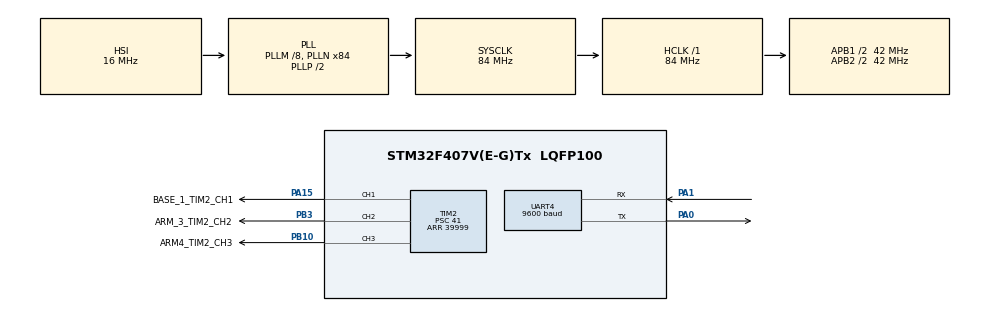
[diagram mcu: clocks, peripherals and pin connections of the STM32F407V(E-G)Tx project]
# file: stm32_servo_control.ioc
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Mcu.Family=STM32F4
Mcu.Name=STM32F407V(E-G)Tx
Mcu.Package=LQFP100
NVIC.PriorityGroup=NVIC_PRIORITYGROUP_4
NVIC.UART4_IRQn=true\:0\:0\:false\:false\:true\:true\:true\:true
PA0-WKUP.Mode=Asynchronous
PA0-WKUP.Signal=UART4_TX
PA1.Mode=Asynchronous
PA1.Signal=UART4_RX
PA13.Mode=Serial_Wire
PA13.Signal=SYS_JTMS-SWDIO
PA14.Mode=Serial_Wire
PA14.Signal=SYS_JTCK-SWCLK
PA15.GPIO_Label=BASE_1_TIM2_CH1
PA15.Signal=S_TIM2_CH1_ETR
PB10.GPIO_Label=ARM4_TIM2_CH3
PB10.Signal=S_TIM2_CH3
PB3.GPIO_Label=ARM_3_TIM2_CH2
PB3.Signal=S_TIM2_CH2
PH0-OSC_IN.Mode=HSE-External-Oscillator
PH0-OSC_IN.Signal=RCC_OSC_IN
PH1-OSC_OUT.Mode=HSE-External-Oscillator
PH1-OSC_OUT.Signal=RCC_OSC_OUT
ProjectManager.HeapSize=0x200
ProjectManager.StackSize=0x400
ProjectManager.TargetToolchain=STM32CubeIDE
RCC.48MHZClocksFreq_Value=24000000
RCC.AHBFreq_Value=84000000
RCC.APB1CLKDivider=RCC_HCLK_DIV2
RCC.APB1Freq_Value=42000000
RCC.APB1TimFreq_Value=84000000
RCC.APB2CLKDivider=RCC_HCLK_DIV2
RCC.APB2Freq_Value=42000000
RCC.APB2TimFreq_Value=84000000
RCC.CortexFreq_Value=84000000
RCC.HCLKFreq_Value=84000000
RCC.HSE_VALUE=8000000
RCC.HSI_VALUE=16000000
RCC.LSE_VALUE=32768
RCC.PLLM=8
RCC.PLLN=84
RCC.PLLQ=7
RCC.SYSCLKFreq_VALUE=84000000
RCC.SYSCLKSource=RCC_SYSCLKSOURCE_PLLCLK
RCC.VCOOutputFreq_Value=168000000
SH.S_TIM2_CH1_ETR.0=TIM2_CH1,PWM Generation1 CH1
SH.S_TIM2_CH2.0=TIM2_CH2,PWM Generation2 CH2
SH.S_TIM2_CH3.0=TIM2_CH3,PWM Generation3 CH3
TIM2.Channel-PWM\ Generation1\ CH1=TIM_CHANNEL_1
TIM2.Channel-PWM\ Generation2\ CH2=TIM_CHANNEL_2
TIM2.Channel-PWM\ Generation3\ CH3=TIM_CHANNEL_3
TIM2.Period=39999
TIM2.Prescaler=41
UART4.BaudRate=9600
UART4.VirtualMode=Asynchronous
VP_TIM2_VS_ClockSourceINT.Mode=Internal
board=STM32F407G-DISC1

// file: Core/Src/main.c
/* USER CODE BEGIN Header */
/**
  ******************************************************************************
  * @file           : main.c
  * @brief          : Main program body
  ******************************************************************************
  * @attention
  *
  * Copyright (c) 2023 STMicroelectronics.
  * All rights reserved.
  *
  * This software is licensed under terms that can be found in the LICENSE file
  * in the root directory of this software component.
  * If no LICENSE file comes with this software, it is provided AS-IS.
  *
  ******************************************************************************
  */
/* USER CODE END Header */
#include "main.h"
/* USER CODE BEGIN Includes */
#include <stdio.h>
#include <string.h>
#include <stdbool.h>
#include <stdlib.h>
#include "stm32f4xx_hal.h"
/* USER CODE END Includes */

/* USER CODE BEGIN PTD */
#define RX_BUFFER_SIZE 32
#define TX_BUFFER_SIZE 32
#define NUM_JOINTS 4
#define JOINT_NAME_SIZE 5
/* USER CODE END PTD */

TIM_HandleTypeDef htim2;
UART_HandleTypeDef huart4;

/* USER CODE BEGIN PV */
typedef enum {
	BASE1, // PIN: PA15
	ARM2,  // PIN: PB3
	ARM4   // PIN: PB10
} CCR_Register;

typedef struct {
	CCR_Register ccr_register;
	uint32_t targetCCR;
	uint32_t currentCCR;
} JointMove;
/* USER CODE END PV */

void SystemClock_Config(void);
static void MX_GPIO_Init(void);
static void MX_TIM2_Init(void);
static void MX_UART4_Init(void);
/* USER CODE BEGIN PFP */
static void moveRobotArmJoint(uint32_t angle[], CCR_Register ccr_register[], int num_joints) {
    JointMove joint_moves[num_joints];
    bool joints_moving[num_joints];

    for (int i = 0; i < num_joints; i++) {
        joint_moves[i].ccr_register = ccr_register[i];
        joint_moves[i].targetCCR = (uint32_t)((angle[i] / 180.0) * 2000 + 2000);
        joints_moving[i] = true;

        switch (ccr_register[i]) {
            case BASE1:
                joint_moves[i].currentCCR = htim2.Instance->CCR1;
                break;
            case ARM2:
                joint_moves[i].currentCCR = htim2.Instance->CCR2;
                break;
            case ARM4:
                joint_moves[i].currentCCR = htim2.Instance->CCR3;
                break;
            default:
                // handle error case
                return;
        }
    }

    bool all_joints_reached_target = false;

    while (!all_joints_reached_target) {
        all_joints_reached_target = true;
        for (int i = 0; i < num_joints; i++) {
            if (joints_moving[i]) {
                if (joint_moves[i].currentCCR < joint_moves[i].targetCCR) {
                    joint_moves[i].currentCCR++;
                } else if (joint_moves[i].currentCCR > joint_moves[i].targetCCR) {
                    joint_moves[i].currentCCR--;
                } else {
                    joints_moving[i] = false;
                    continue;
                }

                switch (joint_moves[i].ccr_register) {
                    case BASE1:
                        htim2.Instance->CCR1 = joint_moves[i].currentCCR;
                        break;
                    case ARM2:
                        htim2.Instance->CCR2 = joint_moves[i].currentCCR;
                        break;
                    case ARM4:
                        htim2.Instance->CCR3 = joint_moves[i].currentCCR;
                        break;
                    default:
                        // handle error case
                        return;
                }

                all_joints_reached_target = false;
            }
        }
        HAL_Delay(0.3); // Adjust the delay value to control the speed
    }
}

static void send_echo(const char* message) {
    HAL_UART_Transmit(&huart4, (uint8_t*)message, strlen(message), HAL_MAX_DELAY);
}
/* USER CODE END PFP */

int main(void)
{
  /* USER CODE BEGIN 1 */
	char rx_buffer[RX_BUFFER_SIZE];
	char tx_data[TX_BUFFER_SIZE];
	uint8_t rx_data;
	int rx_index = 0;
	bool start_detected = false;

  /* USER CODE END 1 */

  /* MCU Configuration--------------------------------------------------------*/

  /* Reset of all peripherals, Initializes the Flash interface and the Systick. */
  HAL_Init();

  /* Configure the system clock */
  SystemClock_Config();

  /* Initialize all configured peripherals */
  MX_GPIO_Init();
  MX_TIM2_Init();
  MX_UART4_Init();
  /* USER CODE BEGIN 2 */
    // BASE 1 - PIN: PA15
	HAL_TIM_PWM_Start(&htim2, TIM_CHANNEL_1);
  	// ARM 2 - PIN: PB3
	HAL_TIM_PWM_Start(&htim2, TIM_CHANNEL_2);
	// ARM 4 - PIN: PB10
	HAL_TIM_PWM_Start(&htim2, TIM_CHANNEL_3);
  /* USER CODE END 2 */

  /* Infinite loop */
	while (1)
  {

    /* USER CODE BEGIN 3 */
//	 printf("Waiting for Rx data...\n");
		// waiting for a # as the start character
	start_detected = false;
	while (!start_detected)
	{
		HAL_UART_Receive(&huart4, &rx_data, 1, HAL_MAX_DELAY);
		if (rx_data == '#')
		{
			start_detected = true;
			rx_index = 0;
		}
	}

	while(rx_data != '\n' && rx_index < RX_BUFFER_SIZE - 1 && start_detected == true) {
		// Receive next byte
		HAL_UART_Receive(&huart4, &rx_data, 1, HAL_MAX_DELAY);
		// Add byte to the buffer
		rx_buffer[rx_index] = rx_data;
		rx_index++;
	}

		char *joint_split_str = strtok(rx_buffer, ",");
		char my_string[5];
		char JOINT[5];
		int movement_angle_int;

		uint32_t angles[NUM_JOINTS];
		CCR_Register ccr_registers[NUM_JOINTS];
		int joint_count = 0;

		while (joint_split_str != NULL) {

		    sscanf(joint_split_str, "%[^-]-%d", my_string, &movement_angle_int);

		    for(int i=0; i<sizeof(my_string);i++){
		        JOINT[i] = my_string[i];
		    }
		    JOINT[sizeof(my_string)] = '\0';

		    // Determine the CCR register based on joint name
		    CCR_Register ccr_register;
		    if (strcmp(JOINT, "BASE1") == 0) {
		        ccr_register = BASE1;
		    } else if (strcmp(JOINT, "ARM2") == 0) {
		        ccr_register = ARM2;
		    } else if (strcmp(JOINT, "ARM4") == 0) {
		        ccr_register = ARM4;
		    } else {
		        // Handle error case
		        continue; // Set to a default value
		    }

		    sprintf(tx_data, "Value: %d\n", movement_angle_int);
		    tx_data[strlen(tx_data)] = '\0';
		    send_echo(tx_data);
		    memset(tx_data, 0, sizeof(tx_data));
		    memset(JOINT, 0, sizeof(JOINT));
		    memset(my_string, 0, sizeof(my_string));

		    if (movement_angle_int >= 0 && movement_angle_int <= 180) { // Check if the value is within valid range
		            angles[joint_count] = movement_angle_int;
		            ccr_registers[joint_count] = ccr_register;
		            joint_count++;
		    }

		    joint_split_str = strtok(NULL, ",");
		}

	if (joint_count > 0) {
		moveRobotArmJoint(angles, ccr_registers, joint_count);
	}
	rx_index = 0;
	rx_buffer[rx_index] = '\0';
	memset(rx_buffer, 0, sizeof(rx_buffer));
	start_detected = false;
	// Split the received data into two variables at '-'

//	  resetRxBuffer(rx_buffer, rx_index);
  }

  /* USER CODE END 3 */
}

void SystemClock_Config(void)
{
  RCC_OscInitTypeDef RCC_OscInitStruct = {0};
  RCC_ClkInitTypeDef RCC_ClkInitStruct = {0};

  /** Configure the main internal regulator output voltage
  */
  __HAL_RCC_PWR_CLK_ENABLE();
  __HAL_PWR_VOLTAGESCALING_CONFIG(PWR_REGULATOR_VOLTAGE_SCALE1);

  /** Initializes the RCC Oscillators according to the specified parameters
  * in the RCC_OscInitTypeDef structure.
  */
  RCC_OscInitStruct.OscillatorType = RCC_OSCILLATORTYPE_HSI;
  RCC_OscInitStruct.HSIState = RCC_HSI_ON;
  RCC_OscInitStruct.HSICalibrationValue = RCC_HSICALIBRATION_DEFAULT;
  RCC_OscInitStruct.PLL.PLLState = RCC_PLL_ON;
  RCC_OscInitStruct.PLL.PLLSource = RCC_PLLSOURCE_HSI;
  RCC_OscInitStruct.PLL.PLLM = 8;
  RCC_OscInitStruct.PLL.PLLN = 84;
  RCC_OscInitStruct.PLL.PLLP = RCC_PLLP_DIV2;
  RCC_OscInitStruct.PLL.PLLQ = 7;
  if (HAL_RCC_OscConfig(&RCC_OscInitStruct) != HAL_OK)
  {
    Error_Handler();
  }

  /** Initializes the CPU, AHB and APB buses clocks
  */
  RCC_ClkInitStruct.ClockType = RCC_CLOCKTYPE_HCLK|RCC_CLOCKTYPE_SYSCLK
                              |RCC_CLOCKTYPE_PCLK1|RCC_CLOCKTYPE_PCLK2;
  RCC_ClkInitStruct.SYSCLKSource = RCC_SYSCLKSOURCE_PLLCLK;
  RCC_ClkInitStruct.AHBCLKDivider = RCC_SYSCLK_DIV1;
  RCC_ClkInitStruct.APB1CLKDivider = RCC_HCLK_DIV2;
  RCC_ClkInitStruct.APB2CLKDivider = RCC_HCLK_DIV2;

  if (HAL_RCC_ClockConfig(&RCC_ClkInitStruct, FLASH_LATENCY_2) != HAL_OK)
  {
    Error_Handler();
  }
}

static void MX_TIM2_Init(void)
{

  TIM_ClockConfigTypeDef sClockSourceConfig = {0};
  TIM_MasterConfigTypeDef sMasterConfig = {0};
  TIM_OC_InitTypeDef sConfigOC = {0};

  htim2.Instance = TIM2;
  htim2.Init.Prescaler = 41;
  htim2.Init.CounterMode = TIM_COUNTERMODE_UP;
  htim2.Init.Period = 39999;
  htim2.Init.ClockDivision = TIM_CLOCKDIVISION_DIV1;
  htim2.Init.AutoReloadPreload = TIM_AUTORELOAD_PRELOAD_DISABLE;
  if (HAL_TIM_Base_Init(&htim2) != HAL_OK)
  {
    Error_Handler();
  }
  sClockSourceConfig.ClockSource = TIM_CLOCKSOURCE_INTERNAL;
  if (HAL_TIM_ConfigClockSource(&htim2, &sClockSourceConfig) != HAL_OK)
  {
    Error_Handler();
  }
  if (HAL_TIM_PWM_Init(&htim2) != HAL_OK)
  {
    Error_Handler();
  }
  sMasterConfig.MasterOutputTrigger = TIM_TRGO_RESET;
  sMasterConfig.MasterSlaveMode = TIM_MASTERSLAVEMODE_DISABLE;
  if (HAL_TIMEx_MasterConfigSynchronization(&htim2, &sMasterConfig) != HAL_OK)
  {
    Error_Handler();
  }
  sConfigOC.OCMode = TIM_OCMODE_PWM1;
  sConfigOC.Pulse = 0;
  sConfigOC.OCPolarity = TIM_OCPOLARITY_HIGH;
  sConfigOC.OCFastMode = TIM_OCFAST_DISABLE;
  if (HAL_TIM_PWM_ConfigChannel(&htim2, &sConfigOC, TIM_CHANNEL_1) != HAL_OK)
  {
    Error_Handler();
  }
  if (HAL_TIM_PWM_ConfigChannel(&htim2, &sConfigOC, TIM_CHANNEL_2) != HAL_OK)
  {
    Error_Handler();
  }
  if (HAL_TIM_PWM_ConfigChannel(&htim2, &sConfigOC, TIM_CHANNEL_3) != HAL_OK)
  {
    Error_Handler();
  }
  HAL_TIM_MspPostInit(&htim2);

}

static void MX_UART4_Init(void)
{

  huart4.Instance = UART4;
  huart4.Init.BaudRate = 9600;
  huart4.Init.WordLength = UART_WORDLENGTH_8B;
  huart4.Init.StopBits = UART_STOPBITS_1;
  huart4.Init.Parity = UART_PARITY_NONE;
  huart4.Init.Mode = UART_MODE_TX_RX;
  huart4.Init.HwFlowCtl = UART_HWCONTROL_NONE;
  huart4.Init.OverSampling = UART_OVERSAMPLING_16;
  if (HAL_UART_Init(&huart4) != HAL_OK)
  {
    Error_Handler();
  }

}

static void MX_GPIO_Init(void)
{

  /* GPIO Ports Clock Enable */
  __HAL_RCC_GPIOH_CLK_ENABLE();
  __HAL_RCC_GPIOA_CLK_ENABLE();
  __HAL_RCC_GPIOB_CLK_ENABLE();

}

void Error_Handler(void)
{
  __disable_irq();
  while (1)
  {
  }
}
